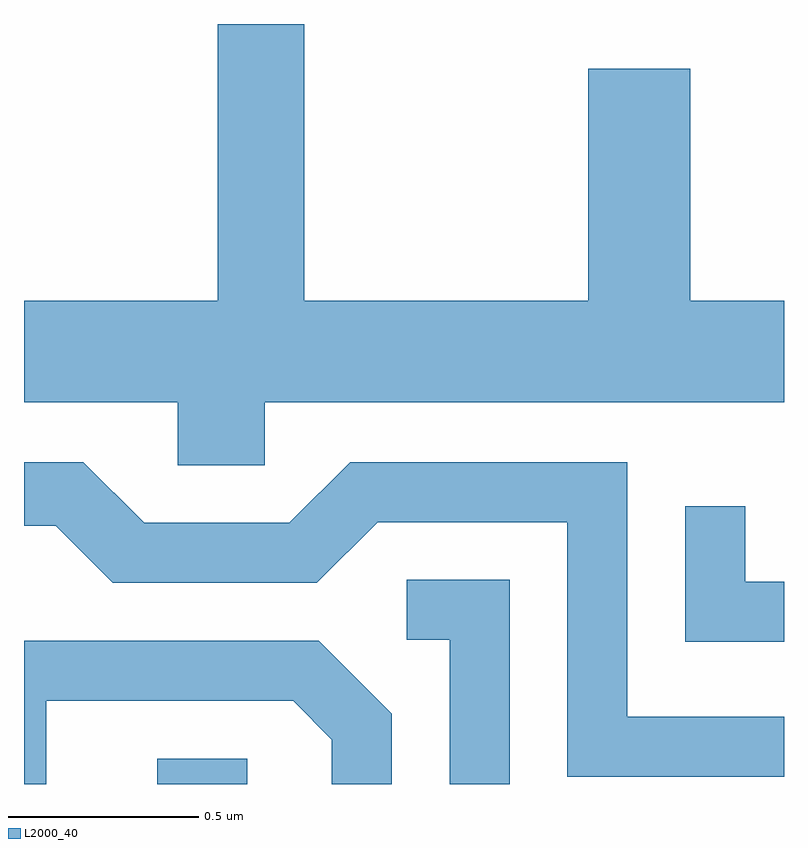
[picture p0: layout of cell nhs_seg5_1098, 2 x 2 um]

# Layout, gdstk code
import gdstk
lib = gdstk.Library(unit=1e-6, precision=1e-09)
def R(c, l, rs):  # rectangles x0, y0, x1, y1
    for r in rs: c.add(gdstk.rectangle(r[:2], r[2:], *l))
def P(c, l, *ps):  # polygons
    for p in ps: c.add(gdstk.Polygon(p, *l))
L2000_40 = (2000, 40)

nhs_seg5_1098 = lib.new_cell('nhs_seg5_1098')
R(nhs_seg5_1098, L2000_40, [(193.961,1398.072,194.199,1398.139)])
P(nhs_seg5_1098, L2000_40, [(194.244,1399.076),(195.611,1399.076),(195.611,1399.344),(195.364,1399.344),(195.364,1399.954),(195.096,1399.954),(195.096,1399.344),(194.349,1399.344),(194.349,1400.072),(194.121,1400.072),(194.121,1399.344),(193.611,1399.344),(193.611,1399.076),(194.016,1399.076),(194.016,1398.911),(194.244,1398.911)],
  [(195.611,1398.249),(195.199,1398.249),(195.199,1398.919),(194.469,1398.919),(194.309,1398.759),(193.927,1398.759),(193.767,1398.919),(193.611,1398.919),(193.611,1398.751),(193.694,1398.751),(193.844,1398.601),(194.382,1398.601),(194.542,1398.761),(195.041,1398.761),(195.041,1398.091),(195.611,1398.091)],
  [(195.611,1398.604),(195.509,1398.604),(195.509,1398.803),(195.351,1398.803),(195.351,1398.446),(195.611,1398.446)],
  [(194.889,1398.609),(194.618,1398.609),(194.618,1398.451),(194.731,1398.451),(194.731,1398.072),(194.889,1398.072)],
  [(193.669,1398.291),(194.319,1398.291),(194.421,1398.189),(194.421,1398.072),(194.579,1398.072),(194.579,1398.257),(194.387,1398.449),(193.611,1398.449),(193.611,1398.072),(193.669,1398.072)])

lib.write_gds('nhs_seg5_1098.gds')
